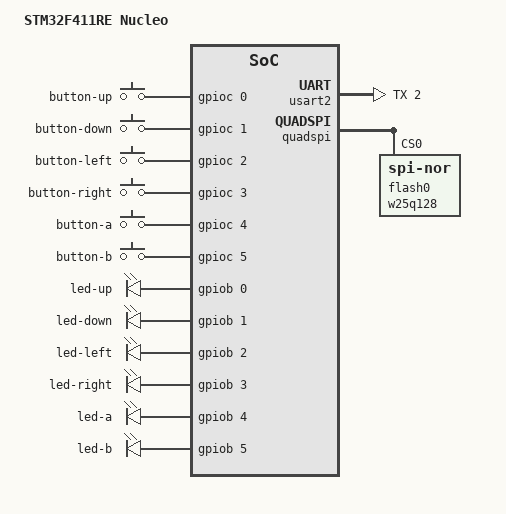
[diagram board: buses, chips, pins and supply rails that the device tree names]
/*
 * STM32F411RE Nucleo board device tree
 *
 * This is a simplified version of what Zephyr uses in:
 *   zephyr/dts/arm/st/f4/stm32f411Xe.dtsi
 *   zephyr/boards/st/nucleo_f411re/nucleo_f411re.dts
 */

/ {
    compatible = "st,nucleo-f411re";
    model = "STM32F411RE Nucleo";

    clocks {
        hsi: hsi {
            compatible = "fixed-clock";
            clock-frequency = <16000000>;
        };
    };

    soc {
        compatible = "st,stm32f411";

        rcc: rcc@40023800 {
            compatible = "st,stm32-rcc";
            reg = <0x40023800>;
        };

        gpioa: gpio@40020000 {
            compatible = "st,stm32-gpio";
            reg = <0x40020000>;
            clocks = <&rcc 0 0>;  /* AHB1, bit 0 */
        };

        gpiob: gpio@40020400 {
            compatible = "st,stm32-gpio";
            reg = <0x40020400>;
            clocks = <&rcc 0 1>;  /* AHB1, bit 1 */
        };

        gpioc: gpio@40020800 {
            compatible = "st,stm32-gpio";
            reg = <0x40020800>;
            clocks = <&rcc 0 2>;  /* AHB1, bit 2 */
        };

        usart2: serial@40004400 {
            compatible = "st,stm32-usart";
            reg = <0x40004400>;
            clocks = <&rcc 1 17>;  /* APB1, bit 17 */
            tx-pin = <2>;
            tx-af = <7>;
            tx-port = <&gpioa>;
            baudrate = <115200>;
            status = "okay";
        };

        quadspi: qspi@a0001000 {
            compatible = "st,stm32-qspi";
            reg = <0xa0001000>;
            clocks = <&rcc 0 1>;  /* AHB3, bit 1 (simplified) */
            status = "okay";

            flash0: w25q128@0 {
                compatible = "jedec,spi-nor";
                reg = <0>;
                jedec-id = <0xef 0x40 0x18>;
                size = <134217728>;  /* 128 Mbit = 16 MB */
                page-size = <256>;
                sector-size = <4096>;
                status = "okay";
            };
        };
    };

    buttons: gpio-keys {
        compatible = "gpio-keys";
        status = "okay";

        button-up {
            gpios = <&gpioc 0>;
            code = <103>;
        };
        button-down {
            gpios = <&gpioc 1>;
            code = <108>;
        };
        button-left {
            gpios = <&gpioc 2>;
            code = <105>;
        };
        button-right {
            gpios = <&gpioc 3>;
            code = <106>;
        };
        button-a {
            gpios = <&gpioc 4>;
            code = <30>;
        };
        button-b {
            gpios = <&gpioc 5>;
            code = <48>;
        };
    };

    chosen {
        console = <&usart2>;
    };

    leds: gpio-leds {
        compatible = "gpio-leds";
        status = "okay";

        led-up    { gpios = <&gpiob 0>; };
        led-down  { gpios = <&gpiob 1>; };
        led-left  { gpios = <&gpiob 2>; };
        led-right { gpios = <&gpiob 3>; };
        led-a     { gpios = <&gpiob 4>; };
        led-b     { gpios = <&gpiob 5>; };
    };
};
